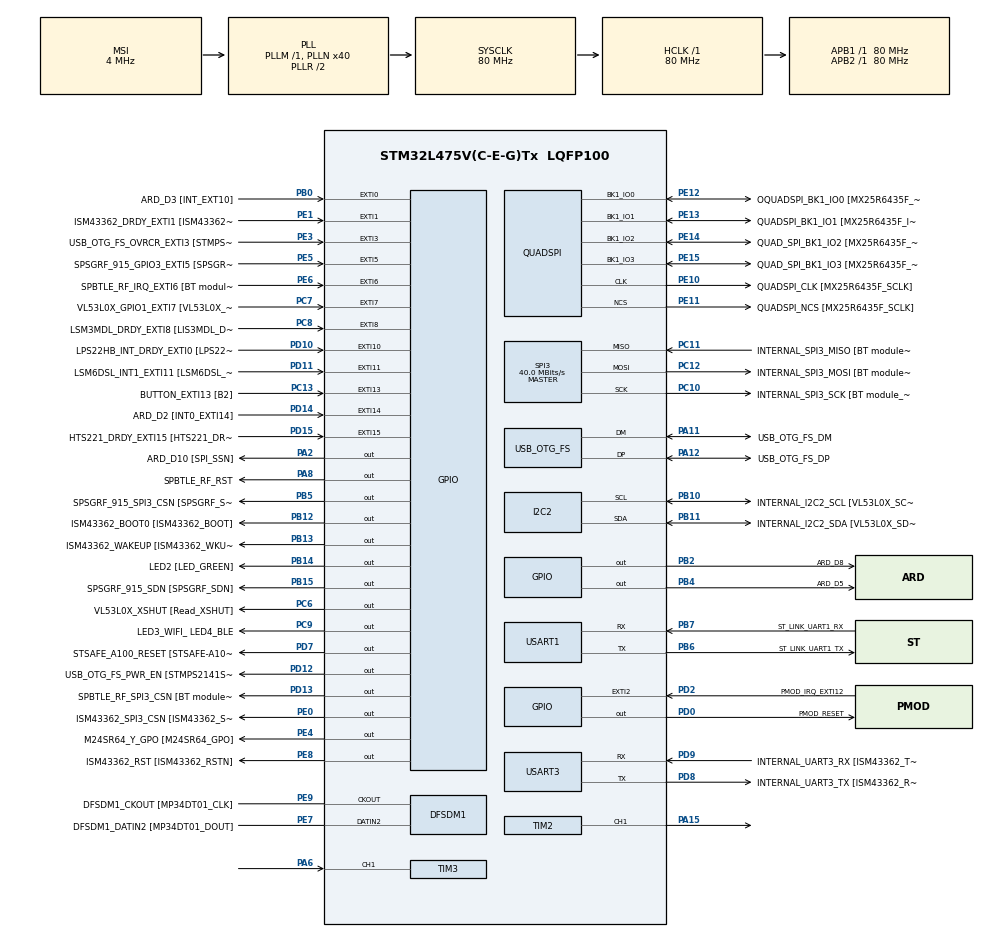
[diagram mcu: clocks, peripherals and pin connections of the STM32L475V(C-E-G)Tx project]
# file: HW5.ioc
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I2C2.Timing=0x10D19CE4
Mcu.Family=STM32L4
Mcu.Name=STM32L475V(C-E-G)Tx
Mcu.Package=LQFP100
NVIC.EXTI15_10_IRQn=true\:0\:0\:false\:false\:true\:true\:true\:true
NVIC.EXTI9_5_IRQn=true\:0\:0\:false\:false\:true\:true\:true\:true
NVIC.TIM3_IRQn=true\:1\:0\:false\:false\:true\:true\:true\:true
NVIC.PriorityGroup=NVIC_PRIORITYGROUP_4
PA0.GPIO_Label=ARD_D1 [UART4_TX]
PA0.Signal=UART4_TX
PA1.GPIO_Label=ARD_D0 [UART4_RX]
PA1.Signal=UART4_RX
PA10.GPIO_Label=USB_OTG_FS_ID
PA10.Signal=USB_OTG_FS_ID
PA11.GPIO_Label=USB_OTG_FS_DM
PA11.Mode=Device_Only
PA11.Signal=USB_OTG_FS_DM
PA12.GPIO_Label=USB_OTG_FS_DP
PA12.Mode=Device_Only
PA12.Signal=USB_OTG_FS_DP
PA13\ (JTMS-SWDIO).GPIO_Label=SYS_JTMS_SWDIO
PA13\ (JTMS-SWDIO).Mode=Serial_Wire
PA13\ (JTMS-SWDIO).Signal=SYS_JTMS-SWDIO
PA14\ (JTCK-SWCLK).GPIO_Label=SYS_JTCK_SWCLK
PA14\ (JTCK-SWCLK).Mode=Serial_Wire
PA14\ (JTCK-SWCLK).Signal=SYS_JTCK-SWCLK
PA15\ (JTDI).Signal=S_TIM2_CH1
PA2.GPIO_Label=ARD_D10 [SPI_SSN]
PA2.Signal=GPIO_Output
PA3.GPIO_Label=ARD_D4
PA3.Signal=S_TIM2_CH4
PA4.GPIO_Label=ARD_D7
PA4.Signal=ADCx_IN9
PA5.GPIO_Label=ARD_D13 [SPI1_SCK]
PA5.Signal=SPI1_SCK
PA6.Signal=S_TIM3_CH1
PA7.Signal=S_TIM3_CH2
PA8.GPIO_Label=SPBTLE_RF_RST
PA8.Signal=GPIO_Output
PA9.GPIO_Label=USB_OTG_FS_VBUS [STMPS2141STR_OUT]
PA9.Signal=USB_OTG_FS_VBUS
PB0.GPIO_Label=ARD_D3 [INT_EXT10]
PB0.Signal=GPXTI0
PB1.GPIO_Label=ARD_D6 [ADC1_IN6]
PB1.Signal=ADCx_IN16
PB10.GPIO_Label=INTERNAL_I2C2_SCL [VL53L0X_SCL]
PB10.GPIO_Pu=GPIO_PULLUP
PB10.Mode=I2C
PB10.Signal=I2C2_SCL
PB11.GPIO_Label=INTERNAL_I2C2_SDA [VL53L0X_SDA]
PB11.GPIO_Pu=GPIO_PULLUP
PB11.Mode=I2C
PB11.Signal=I2C2_SDA
PB12.GPIO_Label=ISM43362_BOOT0 [ISM43362_BOOT]
PB12.Signal=GPIO_Output
PB13.GPIO_Label=ISM43362_WAKEUP [ISM43362_WKUP]
PB13.Signal=GPIO_Output
PB14.GPIO_Label=LED2 [LED_GREEN]
PB14.Signal=GPIO_Output
PB15.GPIO_Label=SPSGRF_915_SDN [SPSGRF_SDN]
PB15.Signal=GPIO_Output
PB2.GPIO_Label=ARD_D8
PB2.Signal=GPIO_Output
PB3\ (JTDO-TRACESWO).GPIO_Label=SYS_JTD0_SWO
PB3\ (JTDO-TRACESWO).Signal=SYS_JTDO-SWO
PB4\ (NJTRST).GPIO_Label=ARD_D5
PB4\ (NJTRST).Signal=GPIO_Output
PB5.GPIO_Label=SPSGRF_915_SPI3_CSN [SPSGRF_SPI_CS]
PB5.PinState=GPIO_PIN_SET
PB5.Signal=GPIO_Output
PB6.GPIO_Label=ST_LINK_UART1_TX
PB6.Mode=Asynchronous
PB6.Signal=USART1_TX
PB7.GPIO_Label=ST_LINK_UART1_RX
PB7.Mode=Asynchronous
PB7.Signal=USART1_RX
PB8.GPIO_Label=ARD_D15 [I2C1_SCL]
PB8.Signal=I2C1_SCL
PB9.GPIO_Label=ARD_D14 [I2C1_SDA]
PB9.Signal=I2C1_SDA
PC0.GPIO_Label=ARD_A5 [ADC]
PC0.Signal=ADCx_IN1
PC1.GPIO_Label=ARD_A4 [ADC]
PC1.Signal=ADCx_IN2
PC10.GPIO_Label=INTERNAL_SPI3_SCK [BT module_SPI_SCLK] [ISM43362_SCK]
PC10.Mode=Full_Duplex_Master
PC10.Signal=SPI3_SCK
PC11.GPIO_Label=INTERNAL_SPI3_MISO [BT module_SPI_MISO] [ISM43362_MISO]
PC11.Mode=Full_Duplex_Master
PC11.Signal=SPI3_MISO
PC12.GPIO_Label=INTERNAL_SPI3_MOSI [BT module_SPI_MOSI] [ISM43362_MOSI]
PC12.Mode=Full_Duplex_Master
PC12.Signal=SPI3_MOSI
PC13.GPIO_Label=BUTTON_EXTI13 [B2]
PC13.GPIO_ModeDefaultEXTI=GPIO_MODE_IT_FALLING
PC13.Signal=GPXTI13
PC14-OSC32_IN\ (PC14).Mode=LSE-External-Oscillator
PC14-OSC32_IN\ (PC14).Signal=RCC_OSC32_IN
PC15-OSC32_OUT\ (PC15).Mode=LSE-External-Oscillator
PC15-OSC32_OUT\ (PC15).Signal=RCC_OSC32_OUT
PC2.GPIO_Label=ARD_A3 [ADC]
PC2.Signal=ADCx_IN3
PC3.GPIO_Label=ARD_A2 [ADC]
PC3.Signal=ADCx_IN4
PC4.GPIO_Label=ARD_A1 [ADC]
PC4.Signal=ADCx_IN13
PC5.GPIO_Label=ARD_A0 [ADC]
PC5.Signal=ADCx_IN14
PC6.GPIO_Label=VL53L0X_XSHUT [Read_XSHUT]
PC6.Signal=GPIO_Output
PC7.GPIO_Label=VL53L0X_GPIO1_EXTI7 [VL53L0X_GPIO1]
PC7.Signal=GPXTI7
PC8.GPIO_Label=LSM3MDL_DRDY_EXTI8 [LIS3MDL_DRDY]
PC8.Signal=GPXTI8
PC9.GPIO_Label=LED3_WIFI_ LED4_BLE
PC9.Signal=GPIO_Output
PD0.GPIO_Label=PMOD_RESET
PD0.Signal=GPIO_Output
PD1.GPIO_Label=PMOD_SPI2_SCK
PD1.Signal=SPI2_SCK
PD10.GPIO_Label=LPS22HB_INT_DRDY_EXTI0 [LPS22HB_INT_DRDY] 
PD10.Signal=GPXTI10
PD11.GPIO_Label=LSM6DSL_INT1_EXTI11 [LSM6DSL_INT1]
PD11.Signal=GPXTI11
PD12.GPIO_Label=USB_OTG_FS_PWR_EN [STMPS2141STR_EN]
PD12.Signal=GPIO_Output
PD13.GPIO_Label=SPBTLE_RF_SPI3_CSN [BT module_SPI_CS]
PD13.PinState=GPIO_PIN_SET
PD13.Signal=GPIO_Output
PD14.GPIO_Label=ARD_D2 [INT0_EXTI14]
PD14.Signal=GPXTI14
PD15.GPIO_Label=HTS221_DRDY_EXTI15 [HTS221_DRDY]
PD15.Signal=GPXTI15
PD2.GPIO_Label=PMOD_IRQ_EXTI12
PD2.Signal=GPXTI2
PD3.GPIO_Label=PMOD_UART2_CTS
PD3.Signal=USART2_CTS
PD4.GPIO_Label=PMOD_UART2_RTS
PD4.Signal=USART2_RTS
PD5.GPIO_Label=PMOD_UART2_TX
PD5.Signal=USART2_TX
PD6.GPIO_Label=PMOD_UART2_RX
PD6.Signal=USART2_RX
PD7.GPIO_Label=STSAFE_A100_RESET [STSAFE-A100_RESET]
PD7.Signal=GPIO_Output
PD8.GPIO_Label=INTERNAL_UART3_TX [ISM43362_RX]
PD8.Mode=Asynchronous
PD8.Signal=USART3_TX
PD9.GPIO_Label=INTERNAL_UART3_RX [ISM43362_TX]
PD9.Mode=Asynchronous
PD9.Signal=USART3_RX
PE0.GPIO_Label=ISM43362_SPI3_CSN [ISM43362_SSN]
PE0.PinState=GPIO_PIN_SET
PE0.Signal=GPIO_Output
PE1.GPIO_Label=ISM43362_DRDY_EXTI1 [ISM43362_DATARDY]
PE1.Signal=GPXTI1
PE10.GPIO_Label=QUADSPI_CLK [MX25R6435F_SCLK]
PE10.Mode=Single Bank
PE10.Signal=QUADSPI_CLK
PE11.GPIO_Label=QUADSPI_NCS [MX25R6435F_SCLK]
PE11.Mode=Single Bank
PE11.Signal=QUADSPI_NCS
PE12.GPIO_Label=OQUADSPI_BK1_IO0 [MX25R6435F_IO0]
PE12.Mode=Single Bank
PE12.Signal=QUADSPI_BK1_IO0
PE13.GPIO_Label=QUADSPI_BK1_IO1 [MX25R6435F_IO1]
PE13.Mode=Single Bank
PE13.Signal=QUADSPI_BK1_IO1
PE14.GPIO_Label=QUAD_SPI_BK1_IO2 [MX25R6435F_IO2]
PE14.Mode=Single Bank
PE14.Signal=QUADSPI_BK1_IO2
PE15.GPIO_Label=QUAD_SPI_BK1_IO3 [MX25R6435F_IO3]
PE15.Mode=Single Bank
PE15.Signal=QUADSPI_BK1_IO3
PE3.GPIO_Label=USB_OTG_FS_OVRCR_EXTI3 [STMPS2141STR_FAULT]
PE3.Signal=GPXTI3
PE4.GPIO_Label=M24SR64_Y_GPO [M24SR64_GPO]
PE4.Signal=GPIO_Output
PE5.GPIO_Label=SPSGRF_915_GPIO3_EXTI5 [SPSGRF_GPIO_3]
PE5.Signal=GPXTI5
PE6.GPIO_Label=SPBTLE_RF_IRQ_EXTI6 [BT module_SPI_IRQ]
PE6.Signal=GPXTI6
PE7.GPIO_Label=DFSDM1_DATIN2 [MP34DT01_DOUT]
PE7.Signal=S_DATAIN2DFSDM1
PE8.GPIO_Label=ISM43362_RST [ISM43362_RSTN]
PE8.Signal=GPIO_Output
PE9.GPIO_Label=DFSDM1_CKOUT [MP34DT01_CLK]
PE9.Signal=S_CKOUTDFSDM1
ProjectManager.HeapSize=0x200
ProjectManager.StackSize=0x400
ProjectManager.TargetToolchain=CMake
QUADSPI.ClockPrescaler=2
QUADSPI.FifoThreshold=4
QUADSPI.FlashSize=23
QUADSPI.SampleShifting=QSPI_SAMPLE_SHIFTING_HALFCYCLE
RCC.ADCFreq_Value=48000000
RCC.AHBFreq_Value=80000000
RCC.APB1Freq_Value=80000000
RCC.APB1TimFreq_Value=80000000
RCC.APB2Freq_Value=80000000
RCC.APB2TimFreq_Value=80000000
RCC.CortexFreq_Value=80000000
RCC.HCLKFreq_Value=80000000
RCC.HSE_VALUE=8000000
RCC.HSI_VALUE=16000000
RCC.MSI_VALUE=4000000
RCC.PLLN=40
RCC.PLLSAI1N=24
RCC.SYSCLKFreq_VALUE=80000000
RCC.SYSCLKSource=RCC_SYSCLKSOURCE_PLLCLK
RCC.USBFreq_Value=48000000
RCC.VCOOutputFreq_Value=160000000
SH.ADCx_IN1.0=ADC1_IN1
SH.ADCx_IN13.0=ADC1_IN13
SH.ADCx_IN14.0=ADC1_IN14
SH.ADCx_IN16.0=ADC1_IN16
SH.ADCx_IN2.0=ADC1_IN2
SH.ADCx_IN3.0=ADC1_IN3
SH.ADCx_IN4.0=ADC1_IN4
SH.ADCx_IN9.0=ADC1_IN9
SH.S_CKOUTDFSDM1.0=DFSDM1_CKOUT,CKOUT
SH.S_CKOUTDFSDM1.1=DFSDM1_CKOUT,PDM_SPI_Input_from_ch12_and_Internal_Clock
SH.S_DATAIN2DFSDM1.0=DFSDM1_DATIN2,PDM_SPI_Input_from_ch12_and_Internal_Clock
SH.S_TIM2_CH1.0=TIM2_CH1,PWM Generation1 CH1
SH.S_TIM2_CH4.0=TIM2_CH4
SH.S_TIM3_CH1.0=TIM3_CH1,Input_Capture1_from_TI1
SH.S_TIM3_CH1.1=TIM3_CH1,TriggerSource_TI1FP1
SH.S_TIM3_CH2.0=TIM3_CH2
SPI3.CalculateBaudRate=40.0 MBits/s
SPI3.Direction=SPI_DIRECTION_2LINES
SPI3.Mode=SPI_MODE_MASTER
SPI3.VirtualType=VM_MASTER
TIM2.AutoReloadPreload=TIM_AUTORELOAD_PRELOAD_ENABLE
TIM2.Channel-PWM\ Generation1\ CH1=TIM_CHANNEL_1
TIM2.Period=999999
TIM2.Prescaler=15
TIM2.Pulse-PWM\ Generation1\ CH1=250000
TIM3.Channel-Input_Capture1_from_TI1=TIM_CHANNEL_1
TIM3.Channel-Input_Capture2_from_TI1_63=TIM_CHANNEL_2
TIM3.ICPolarity_CH1=TIM_INPUTCHANNELPOLARITY_RISING
TIM3.ICPolarity_CH2=TIM_INPUTCHANNELPOLARITY_FALLING
TIM3.TriggerPolarity=TIM_INPUTCHANNELPOLARITY_RISING
TIM3.Prescaler=7999
USART1.VirtualMode-Asynchronous=VM_ASYNC
USART3.VirtualMode-Asynchronous=VM_ASYNC
USB_OTG_FS.VirtualMode=Device_Only
VP_TIM2_VS_ClockSourceINT.Mode=Internal
VP_TIM3_VS_ControllerModeReset.Mode=Reset Mode
VP_TIM3_VS_indirect_ch1.Mode=Input_Capture2_from_TI1_63
board=B-L475E-IOT01A2

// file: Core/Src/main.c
/* USER CODE BEGIN Header */
/**
  ******************************************************************************
  * @file           : main.c
  * @brief          : Main program body
  ******************************************************************************
  * @attention
  *
  * Copyright (c) 2026 STMicroelectronics.
  * All rights reserved.
  *
  * This software is licensed under terms that can be found in the LICENSE file
  * in the root directory of this software component.
  * If no LICENSE file comes with this software, it is provided AS-IS.
  *
  ******************************************************************************
  */
/* USER CODE END Header */
#include "main.h"

DFSDM_Channel_HandleTypeDef hdfsdm1_channel1;

I2C_HandleTypeDef hi2c2;

QSPI_HandleTypeDef hqspi;

SPI_HandleTypeDef hspi3;

TIM_HandleTypeDef htim2;
TIM_HandleTypeDef htim3;

UART_HandleTypeDef huart1;
UART_HandleTypeDef huart3;

PCD_HandleTypeDef hpcd_USB_OTG_FS;

/* USER CODE BEGIN PV */
volatile uint32_t IC_Val1 = 0;     // 儲存週期 (CCR1)
volatile uint32_t IC_Val2 = 0;     // 儲存高電平寬度 (CCR2)
volatile float frequency = 0.0f;
volatile float duty_cycle = 0.0f;  // 計算出的占空比 (%)
/* USER CODE END PV */

void SystemClock_Config(void);
static void MX_GPIO_Init(void);
static void MX_DFSDM1_Init(void);
static void MX_I2C2_Init(void);
static void MX_QUADSPI_Init(void);
static void MX_SPI3_Init(void);
static void MX_TIM2_Init(void);
static void MX_USART1_UART_Init(void);
static void MX_USART3_UART_Init(void);
static void MX_USB_OTG_FS_PCD_Init(void);
static void MX_TIM3_Init(void);

int main(void)
{

  /* MCU Configuration--------------------------------------------------------*/

  /* Reset of all peripherals, Initializes the Flash interface and the Systick. */
  HAL_Init();

  /* Configure the system clock */
  SystemClock_Config();

  /* Initialize all configured peripherals */
  MX_GPIO_Init();
  MX_DFSDM1_Init();
  MX_I2C2_Init();
  MX_QUADSPI_Init();
  MX_SPI3_Init();
  MX_TIM2_Init();
  MX_USART1_UART_Init();
  MX_USART3_UART_Init();
  MX_USB_OTG_FS_PCD_Init();
  MX_TIM3_Init();
  /* USER CODE BEGIN 2 */
  HAL_TIM_IC_Start(&htim3, TIM_CHANNEL_2);
  HAL_TIM_IC_Start_IT(&htim3, TIM_CHANNEL_1);
  HAL_TIM_PWM_Start(&htim2, TIM_CHANNEL_1);
  /* USER CODE END 2 */

  /* Infinite loop */
  while (1)
  {
    (void)frequency;
    (void)duty_cycle;
  }
}

void SystemClock_Config(void)
{
  RCC_OscInitTypeDef RCC_OscInitStruct = {0};
  RCC_ClkInitTypeDef RCC_ClkInitStruct = {0};

  /** Configure the main internal regulator output voltage
  */
  if (HAL_PWREx_ControlVoltageScaling(PWR_REGULATOR_VOLTAGE_SCALE1) != HAL_OK)
  {
    Error_Handler();
  }

  /** Configure LSE Drive Capability
  */
  HAL_PWR_EnableBkUpAccess();
  __HAL_RCC_LSEDRIVE_CONFIG(RCC_LSEDRIVE_LOW);

  /** Initializes the RCC Oscillators according to the specified parameters
  * in the RCC_OscInitTypeDef structure.
  */
  RCC_OscInitStruct.OscillatorType = RCC_OSCILLATORTYPE_LSE|RCC_OSCILLATORTYPE_MSI;
  RCC_OscInitStruct.LSEState = RCC_LSE_ON;
  RCC_OscInitStruct.MSIState = RCC_MSI_ON;
  RCC_OscInitStruct.MSICalibrationValue = 0;
  RCC_OscInitStruct.MSIClockRange = RCC_MSIRANGE_6;
  RCC_OscInitStruct.PLL.PLLState = RCC_PLL_ON;
  RCC_OscInitStruct.PLL.PLLSource = RCC_PLLSOURCE_MSI;
  RCC_OscInitStruct.PLL.PLLM = 1;
  RCC_OscInitStruct.PLL.PLLN = 40;
  RCC_OscInitStruct.PLL.PLLP = RCC_PLLP_DIV7;
  RCC_OscInitStruct.PLL.PLLQ = RCC_PLLQ_DIV2;
  RCC_OscInitStruct.PLL.PLLR = RCC_PLLR_DIV2;
  if (HAL_RCC_OscConfig(&RCC_OscInitStruct) != HAL_OK)
  {
    Error_Handler();
  }

  /** Initializes the CPU, AHB and APB buses clocks
  */
  RCC_ClkInitStruct.ClockType = RCC_CLOCKTYPE_HCLK|RCC_CLOCKTYPE_SYSCLK
                              |RCC_CLOCKTYPE_PCLK1|RCC_CLOCKTYPE_PCLK2;
  RCC_ClkInitStruct.SYSCLKSource = RCC_SYSCLKSOURCE_PLLCLK;
  RCC_ClkInitStruct.AHBCLKDivider = RCC_SYSCLK_DIV1;
  RCC_ClkInitStruct.APB1CLKDivider = RCC_HCLK_DIV1;
  RCC_ClkInitStruct.APB2CLKDivider = RCC_HCLK_DIV1;

  if (HAL_RCC_ClockConfig(&RCC_ClkInitStruct, FLASH_LATENCY_4) != HAL_OK)
  {
    Error_Handler();
  }

  /** Enable MSI Auto calibration
  */
  HAL_RCCEx_EnableMSIPLLMode();
}

static void MX_DFSDM1_Init(void)
{

  hdfsdm1_channel1.Instance = DFSDM1_Channel1;
  hdfsdm1_channel1.Init.OutputClock.Activation = ENABLE;
  hdfsdm1_channel1.Init.OutputClock.Selection = DFSDM_CHANNEL_OUTPUT_CLOCK_SYSTEM;
  hdfsdm1_channel1.Init.OutputClock.Divider = 2;
  hdfsdm1_channel1.Init.Input.Multiplexer = DFSDM_CHANNEL_EXTERNAL_INPUTS;
  hdfsdm1_channel1.Init.Input.DataPacking = DFSDM_CHANNEL_STANDARD_MODE;
  hdfsdm1_channel1.Init.Input.Pins = DFSDM_CHANNEL_FOLLOWING_CHANNEL_PINS;
  hdfsdm1_channel1.Init.SerialInterface.Type = DFSDM_CHANNEL_SPI_RISING;
  hdfsdm1_channel1.Init.SerialInterface.SpiClock = DFSDM_CHANNEL_SPI_CLOCK_INTERNAL;
  hdfsdm1_channel1.Init.Awd.FilterOrder = DFSDM_CHANNEL_FASTSINC_ORDER;
  hdfsdm1_channel1.Init.Awd.Oversampling = 1;
  hdfsdm1_channel1.Init.Offset = 0;
  hdfsdm1_channel1.Init.RightBitShift = 0x00;
  if (HAL_DFSDM_ChannelInit(&hdfsdm1_channel1) != HAL_OK)
  {
    Error_Handler();
  }

}

static void MX_I2C2_Init(void)
{

  hi2c2.Instance = I2C2;
  hi2c2.Init.Timing = 0x10D19CE4;
  hi2c2.Init.OwnAddress1 = 0;
  hi2c2.Init.AddressingMode = I2C_ADDRESSINGMODE_7BIT;
  hi2c2.Init.DualAddressMode = I2C_DUALADDRESS_DISABLE;
  hi2c2.Init.OwnAddress2 = 0;
  hi2c2.Init.OwnAddress2Masks = I2C_OA2_NOMASK;
  hi2c2.Init.GeneralCallMode = I2C_GENERALCALL_DISABLE;
  hi2c2.Init.NoStretchMode = I2C_NOSTRETCH_DISABLE;
  if (HAL_I2C_Init(&hi2c2) != HAL_OK)
  {
    Error_Handler();
  }

  /** Configure Analogue filter
  */
  if (HAL_I2CEx_ConfigAnalogFilter(&hi2c2, I2C_ANALOGFILTER_ENABLE) != HAL_OK)
  {
    Error_Handler();
  }

  /** Configure Digital filter
  */
  if (HAL_I2CEx_ConfigDigitalFilter(&hi2c2, 0) != HAL_OK)
  {
    Error_Handler();
  }

}

static void MX_QUADSPI_Init(void)
{

  /* QUADSPI parameter configuration*/
  hqspi.Instance = QUADSPI;
  hqspi.Init.ClockPrescaler = 2;
  hqspi.Init.FifoThreshold = 4;
  hqspi.Init.SampleShifting = QSPI_SAMPLE_SHIFTING_HALFCYCLE;
  hqspi.Init.FlashSize = 23;
  hqspi.Init.ChipSelectHighTime = QSPI_CS_HIGH_TIME_1_CYCLE;
  hqspi.Init.ClockMode = QSPI_CLOCK_MODE_0;
  if (HAL_QSPI_Init(&hqspi) != HAL_OK)
  {
    Error_Handler();
  }

}

static void MX_SPI3_Init(void)
{

  /* SPI3 parameter configuration*/
  hspi3.Instance = SPI3;
  hspi3.Init.Mode = SPI_MODE_MASTER;
  hspi3.Init.Direction = SPI_DIRECTION_2LINES;
  hspi3.Init.DataSize = SPI_DATASIZE_4BIT;
  hspi3.Init.CLKPolarity = SPI_POLARITY_LOW;
  hspi3.Init.CLKPhase = SPI_PHASE_1EDGE;
  hspi3.Init.NSS = SPI_NSS_SOFT;
  hspi3.Init.BaudRatePrescaler = SPI_BAUDRATEPRESCALER_2;
  hspi3.Init.FirstBit = SPI_FIRSTBIT_MSB;
  hspi3.Init.TIMode = SPI_TIMODE_DISABLE;
  hspi3.Init.CRCCalculation = SPI_CRCCALCULATION_DISABLE;
  hspi3.Init.CRCPolynomial = 7;
  hspi3.Init.CRCLength = SPI_CRC_LENGTH_DATASIZE;
  hspi3.Init.NSSPMode = SPI_NSS_PULSE_ENABLE;
  if (HAL_SPI_Init(&hspi3) != HAL_OK)
  {
    Error_Handler();
  }

}

static void MX_TIM2_Init(void)
{

  TIM_ClockConfigTypeDef sClockSourceConfig = {0};
  TIM_MasterConfigTypeDef sMasterConfig = {0};
  TIM_OC_InitTypeDef sConfigOC = {0};

  htim2.Instance = TIM2;
  htim2.Init.Prescaler = 15;
  htim2.Init.CounterMode = TIM_COUNTERMODE_UP;
  htim2.Init.Period = 999999;
  htim2.Init.ClockDivision = TIM_CLOCKDIVISION_DIV1;
  htim2.Init.AutoReloadPreload = TIM_AUTORELOAD_PRELOAD_ENABLE;
  if (HAL_TIM_Base_Init(&htim2) != HAL_OK)
  {
    Error_Handler();
  }
  sClockSourceConfig.ClockSource = TIM_CLOCKSOURCE_INTERNAL;
  if (HAL_TIM_ConfigClockSource(&htim2, &sClockSourceConfig) != HAL_OK)
  {
    Error_Handler();
  }
  if (HAL_TIM_PWM_Init(&htim2) != HAL_OK)
  {
    Error_Handler();
  }
  sMasterConfig.MasterOutputTrigger = TIM_TRGO_RESET;
  sMasterConfig.MasterSlaveMode = TIM_MASTERSLAVEMODE_DISABLE;
  if (HAL_TIMEx_MasterConfigSynchronization(&htim2, &sMasterConfig) != HAL_OK)
  {
    Error_Handler();
  }
  sConfigOC.OCMode = TIM_OCMODE_PWM1;
  sConfigOC.Pulse = 250000;
  sConfigOC.OCPolarity = TIM_OCPOLARITY_HIGH;
  sConfigOC.OCFastMode = TIM_OCFAST_DISABLE;
  if (HAL_TIM_PWM_ConfigChannel(&htim2, &sConfigOC, TIM_CHANNEL_1) != HAL_OK)
  {
    Error_Handler();
  }
  HAL_TIM_MspPostInit(&htim2);

}

static void MX_TIM3_Init(void)
{

  TIM_SlaveConfigTypeDef sSlaveConfig = {0};
  TIM_MasterConfigTypeDef sMasterConfig = {0};
  TIM_IC_InitTypeDef sConfigIC = {0};

  htim3.Instance = TIM3;
  htim3.Init.Prescaler = 7999;
  htim3.Init.CounterMode = TIM_COUNTERMODE_UP;
  htim3.Init.Period = 65535;
  htim3.Init.ClockDivision = TIM_CLOCKDIVISION_DIV1;
  htim3.Init.AutoReloadPreload = TIM_AUTORELOAD_PRELOAD_DISABLE;
  if (HAL_TIM_Base_Init(&htim3) != HAL_OK)
  {
    Error_Handler();
  }
  if (HAL_TIM_IC_Init(&htim3) != HAL_OK)
  {
    Error_Handler();
  }
  sSlaveConfig.SlaveMode = TIM_SLAVEMODE_RESET;
  sSlaveConfig.InputTrigger = TIM_TS_TI1FP1;
  sSlaveConfig.TriggerPolarity = TIM_INPUTCHANNELPOLARITY_RISING;
  sSlaveConfig.TriggerFilter = 0;
  if (HAL_TIM_SlaveConfigSynchro(&htim3, &sSlaveConfig) != HAL_OK)
  {
    Error_Handler();
  }
  sMasterConfig.MasterOutputTrigger = TIM_TRGO_RESET;
  sMasterConfig.MasterSlaveMode = TIM_MASTERSLAVEMODE_DISABLE;
  if (HAL_TIMEx_MasterConfigSynchronization(&htim3, &sMasterConfig) != HAL_OK)
  {
    Error_Handler();
  }
  sConfigIC.ICPolarity = TIM_INPUTCHANNELPOLARITY_RISING;
  sConfigIC.ICSelection = TIM_ICSELECTION_DIRECTTI;
  sConfigIC.ICPrescaler = TIM_ICPSC_DIV1;
  sConfigIC.ICFilter = 0;
  if (HAL_TIM_IC_ConfigChannel(&htim3, &sConfigIC, TIM_CHANNEL_1) != HAL_OK)
  {
    Error_Handler();
  }
  sConfigIC.ICPolarity = TIM_INPUTCHANNELPOLARITY_FALLING;
  sConfigIC.ICSelection = TIM_ICSELECTION_INDIRECTTI;
  if (HAL_TIM_IC_ConfigChannel(&htim3, &sConfigIC, TIM_CHANNEL_2) != HAL_OK)
  {
    Error_Handler();
  }

}

static void MX_USART1_UART_Init(void)
{

  huart1.Instance = USART1;
  huart1.Init.BaudRate = 115200;
  huart1.Init.WordLength = UART_WORDLENGTH_8B;
  huart1.Init.StopBits = UART_STOPBITS_1;
  huart1.Init.Parity = UART_PARITY_NONE;
  huart1.Init.Mode = UART_MODE_TX_RX;
  huart1.Init.HwFlowCtl = UART_HWCONTROL_NONE;
  huart1.Init.OverSampling = UART_OVERSAMPLING_16;
  huart1.Init.OneBitSampling = UART_ONE_BIT_SAMPLE_DISABLE;
  huart1.AdvancedInit.AdvFeatureInit = UART_ADVFEATURE_NO_INIT;
  if (HAL_UART_Init(&huart1) != HAL_OK)
  {
    Error_Handler();
  }

}

static void MX_USART3_UART_Init(void)
{

  huart3.Instance = USART3;
  huart3.Init.BaudRate = 115200;
  huart3.Init.WordLength = UART_WORDLENGTH_8B;
  huart3.Init.StopBits = UART_STOPBITS_1;
  huart3.Init.Parity = UART_PARITY_NONE;
  huart3.Init.Mode = UART_MODE_TX_RX;
  huart3.Init.HwFlowCtl = UART_HWCONTROL_NONE;
  huart3.Init.OverSampling = UART_OVERSAMPLING_16;
  huart3.Init.OneBitSampling = UART_ONE_BIT_SAMPLE_DISABLE;
  huart3.AdvancedInit.AdvFeatureInit = UART_ADVFEATURE_NO_INIT;
  if (HAL_UART_Init(&huart3) != HAL_OK)
  {
    Error_Handler();
  }

}

static void MX_USB_OTG_FS_PCD_Init(void)
{

  hpcd_USB_OTG_FS.Instance = USB_OTG_FS;
  hpcd_USB_OTG_FS.Init.dev_endpoints = 6;
  hpcd_USB_OTG_FS.Init.speed = PCD_SPEED_FULL;
  hpcd_USB_OTG_FS.Init.phy_itface = PCD_PHY_EMBEDDED;
  hpcd_USB_OTG_FS.Init.Sof_enable = DISABLE;
  hpcd_USB_OTG_FS.Init.low_power_enable = DISABLE;
  hpcd_USB_OTG_FS.Init.lpm_enable = DISABLE;
  hpcd_USB_OTG_FS.Init.battery_charging_enable = DISABLE;
  hpcd_USB_OTG_FS.Init.use_dedicated_ep1 = DISABLE;
  hpcd_USB_OTG_FS.Init.vbus_sensing_enable = DISABLE;
  if (HAL_PCD_Init(&hpcd_USB_OTG_FS) != HAL_OK)
  {
    Error_Handler();
  }

}

static void MX_GPIO_Init(void)
{
  GPIO_InitTypeDef GPIO_InitStruct = {0};

  /* GPIO Ports Clock Enable */
  __HAL_RCC_GPIOE_CLK_ENABLE();
  __HAL_RCC_GPIOC_CLK_ENABLE();
  __HAL_RCC_GPIOA_CLK_ENABLE();
  __HAL_RCC_GPIOB_CLK_ENABLE();
  __HAL_RCC_GPIOD_CLK_ENABLE();

  /*Configure GPIO pin Output Level */
  HAL_GPIO_WritePin(GPIOE, M24SR64_Y_GPO_Pin|ISM43362_RST_Pin, GPIO_PIN_RESET);

  /*Configure GPIO pin Output Level */
  HAL_GPIO_WritePin(GPIOA, ARD_D10_Pin|SPBTLE_RF_RST_Pin, GPIO_PIN_RESET);

  /*Configure GPIO pin Output Level */
  HAL_GPIO_WritePin(GPIOB, ARD_D8_Pin|ISM43362_BOOT0_Pin|ISM43362_WAKEUP_Pin|LED2_Pin
                          |SPSGRF_915_SDN_Pin|ARD_D5_Pin, GPIO_PIN_RESET);

  /*Configure GPIO pin Output Level */
  HAL_GPIO_WritePin(GPIOD, USB_OTG_FS_PWR_EN_Pin|PMOD_RESET_Pin|STSAFE_A100_RESET_Pin, GPIO_PIN_RESET);

  /*Configure GPIO pin Output Level */
  HAL_GPIO_WritePin(SPBTLE_RF_SPI3_CSN_GPIO_Port, SPBTLE_RF_SPI3_CSN_Pin, GPIO_PIN_SET);

  /*Configure GPIO pin Output Level */
  HAL_GPIO_WritePin(GPIOC, VL53L0X_XSHUT_Pin|LED3_WIFI__LED4_BLE_Pin, GPIO_PIN_RESET);

  /*Configure GPIO pin Output Level */
  HAL_GPIO_WritePin(SPSGRF_915_SPI3_CSN_GPIO_Port, SPSGRF_915_SPI3_CSN_Pin, GPIO_PIN_SET);

  /*Configure GPIO pin Output Level */
  HAL_GPIO_WritePin(ISM43362_SPI3_CSN_GPIO_Port, ISM43362_SPI3_CSN_Pin, GPIO_PIN_SET);

  /*Configure GPIO pins : USB_OTG_FS_OVRCR_EXTI3_Pin SPSGRF_915_GPIO3_EXTI5_Pin SPBTLE_RF_IRQ_EXTI6_Pin ISM43362_DRDY_EXTI1_Pin */
  GPIO_InitStruct.Pin = USB_OTG_FS_OVRCR_EXTI3_Pin|SPSGRF_915_GPIO3_EXTI5_Pin|SPBTLE_RF_IRQ_EXTI6_Pin|ISM43362_DRDY_EXTI1_Pin;
  GPIO_InitStruct.Mode = GPIO_MODE_IT_RISING;
  GPIO_InitStruct.Pull = GPIO_NOPULL;
  HAL_GPIO_Init(GPIOE, &GPIO_InitStruct);

  /*Configure GPIO pins : M24SR64_Y_GPO_Pin ISM43362_RST_Pin ISM43362_SPI3_CSN_Pin */
  GPIO_InitStruct.Pin = M24SR64_Y_GPO_Pin|ISM43362_RST_Pin|ISM43362_SPI3_CSN_Pin;
  GPIO_InitStruct.Mode = GPIO_MODE_OUTPUT_PP;
  GPIO_InitStruct.Pull = GPIO_NOPULL;
  GPIO_InitStruct.Speed = GPIO_SPEED_FREQ_LOW;
  HAL_GPIO_Init(GPIOE, &GPIO_InitStruct);

  /*Configure GPIO pin : BUTTON_EXTI13_Pin */
  GPIO_InitStruct.Pin = BUTTON_EXTI13_Pin;
  GPIO_InitStruct.Mode = GPIO_MODE_IT_FALLING;
  GPIO_InitStruct.Pull = GPIO_NOPULL;
  HAL_GPIO_Init(BUTTON_EXTI13_GPIO_Port, &GPIO_InitStruct);

  /*Configure GPIO pins : ARD_A5_Pin ARD_A4_Pin ARD_A3_Pin ARD_A2_Pin
                           ARD_A1_Pin ARD_A0_Pin */
  GPIO_InitStruct.Pin = ARD_A5_Pin|ARD_A4_Pin|ARD_A3_Pin|ARD_A2_Pin
                          |ARD_A1_Pin|ARD_A0_Pin;
  GPIO_InitStruct.Mode = GPIO_MODE_ANALOG_ADC_CONTROL;
  GPIO_InitStruct.Pull = GPIO_NOPULL;
  HAL_GPIO_Init(GPIOC, &GPIO_InitStruct);

  /*Configure GPIO pins : ARD_D1_Pin ARD_D0_Pin */
  GPIO_InitStruct.Pin = ARD_D1_Pin|ARD_D0_Pin;
  GPIO_InitStruct.Mode = GPIO_MODE_AF_PP;
  GPIO_InitStruct.Pull = GPIO_NOPULL;
  GPIO_InitStruct.Speed = GPIO_SPEED_FREQ_VERY_HIGH;
  GPIO_InitStruct.Alternate = GPIO_AF8_UART4;
  HAL_GPIO_Init(GPIOA, &GPIO_InitStruct);

  /*Configure GPIO pins : ARD_D10_Pin SPBTLE_RF_RST_Pin */
  GPIO_InitStruct.Pin = ARD_D10_Pin|SPBTLE_RF_RST_Pin;
  GPIO_InitStruct.Mode = GPIO_MODE_OUTPUT_PP;
  GPIO_InitStruct.Pull = GPIO_NOPULL;
  GPIO_InitStruct.Speed = GPIO_SPEED_FREQ_LOW;
  HAL_GPIO_Init(GPIOA, &GPIO_InitStruct);

  /*Configure GPIO pin : ARD_D7_Pin */
  GPIO_InitStruct.Pin = ARD_D7_Pin;
  GPIO_InitStruct.Mode = GPIO_MODE_ANALOG_ADC_CONTROL;
  GPIO_InitStruct.Pull = GPIO_NOPULL;
  HAL_GPIO_Init(ARD_D7_GPIO_Port, &GPIO_InitStruct);

  /*Configure GPIO pin : ARD_D13_Pin */
  GPIO_InitStruct.Pin = ARD_D13_Pin;
  GPIO_InitStruct.Mode = GPIO_MODE_AF_PP;
  GPIO_InitStruct.Pull = GPIO_NOPULL;
  GPIO_InitStruct.Speed = GPIO_SPEED_FREQ_VERY_HIGH;
  GPIO_InitStruct.Alternate = GPIO_AF5_SPI1;
  HAL_GPIO_Init(ARD_D13_GPIO_Port, &GPIO_InitStruct);

  /*Configure GPIO pin : ARD_D3_Pin */
  GPIO_InitStruct.Pin = ARD_D3_Pin;
  GPIO_InitStruct.Mode = GPIO_MODE_IT_RISING;
  GPIO_InitStruct.Pull = GPIO_NOPULL;
  HAL_GPIO_Init(ARD_D3_GPIO_Port, &GPIO_InitStruct);

  /*Configure GPIO pin : ARD_D6_Pin */
  GPIO_InitStruct.Pin = ARD_D6_Pin;
  GPIO_InitStruct.Mode = GPIO_MODE_ANALOG_ADC_CONTROL;
  GPIO_InitStruct.Pull = GPIO_NOPULL;
  HAL_GPIO_Init(ARD_D6_GPIO_Port, &GPIO_InitStruct);

  /*Configure GPIO pins : ARD_D8_Pin ISM43362_BOOT0_Pin ISM43362_WAKEUP_Pin LED2_Pin
                           SPSGRF_915_SDN_Pin ARD_D5_Pin SPSGRF_915_SPI3_CSN_Pin */
  GPIO_InitStruct.Pin = ARD_D8_Pin|ISM43362_BOOT0_Pin|ISM43362_WAKEUP_Pin|LED2_Pin
                          |SPSGRF_915_SDN_Pin|ARD_D5_Pin|SPSGRF_915_SPI3_CSN_Pin;
  GPIO_InitStruct.Mode = GPIO_MODE_OUTPUT_PP;
  GPIO_InitStruct.Pull = GPIO_NOPULL;
  GPIO_InitStruct.Speed = GPIO_SPEED_FREQ_LOW;
  HAL_GPIO_Init(GPIOB, &GPIO_InitStruct);

  /*Configure GPIO pins : LPS22HB_INT_DRDY_EXTI0_Pin LSM6DSL_INT1_EXTI11_Pin ARD_D2_Pin HTS221_DRDY_EXTI15_Pin
                           PMOD_IRQ_EXTI12_Pin */
  GPIO_InitStruct.Pin = LPS22HB_INT_DRDY_EXTI0_Pin|LSM6DSL_INT1_EXTI11_Pin|ARD_D2_Pin|HTS221_DRDY_EXTI15_Pin
                          |PMOD_IRQ_EXTI12_Pin;
  GPIO_InitStruct.Mode = GPIO_MODE_IT_RISING;
  GPIO_InitStruct.Pull = GPIO_NOPULL;
  HAL_GPIO_Init(GPIOD, &GPIO_InitStruct);

  /*Configure GPIO pins : USB_OTG_FS_PWR_EN_Pin SPBTLE_RF_SPI3_CSN_Pin PMOD_RESET_Pin STSAFE_A100_RESET_Pin */
  GPIO_InitStruct.Pin = USB_OTG_FS_PWR_EN_Pin|SPBTLE_RF_SPI3_CSN_Pin|PMOD_RESET_Pin|STSAFE_A100_RESET_Pin;
  GPIO_InitStruct.Mode = GPIO_MODE_OUTPUT_PP;
  GPIO_InitStruct.Pull = GPIO_NOPULL;
  GPIO_InitStruct.Speed = GPIO_SPEED_FREQ_LOW;
  HAL_GPIO_Init(GPIOD, &GPIO_InitStruct);

  /*Configure GPIO pins : VL53L0X_XSHUT_Pin LED3_WIFI__LED4_BLE_Pin */
  GPIO_InitStruct.Pin = VL53L0X_XSHUT_Pin|LED3_WIFI__LED4_BLE_Pin;
  GPIO_InitStruct.Mode = GPIO_MODE_OUTPUT_PP;
  GPIO_InitStruct.Pull = GPIO_NOPULL;
  GPIO_InitStruct.Speed = GPIO_SPEED_FREQ_LOW;
  HAL_GPIO_Init(GPIOC, &GPIO_InitStruct);

  /*Configure GPIO pins : VL53L0X_GPIO1_EXTI7_Pin LSM3MDL_DRDY_EXTI8_Pin */
  GPIO_InitStruct.Pin = VL53L0X_GPIO1_EXTI7_Pin|LSM3MDL_DRDY_EXTI8_Pin;
  GPIO_InitStruct.Mode = GPIO_MODE_IT_RISING;
  GPIO_InitStruct.Pull = GPIO_NOPULL;
  HAL_GPIO_Init(GPIOC, &GPIO_InitStruct);

  /*Configure GPIO pin : PMOD_SPI2_SCK_Pin */
  GPIO_InitStruct.Pin = PMOD_SPI2_SCK_Pin;
  GPIO_InitStruct.Mode = GPIO_MODE_AF_PP;
  GPIO_InitStruct.Pull = GPIO_NOPULL;
  GPIO_InitStruct.Speed = GPIO_SPEED_FREQ_VERY_HIGH;
  GPIO_InitStruct.Alternate = GPIO_AF5_SPI2;
  HAL_GPIO_Init(PMOD_SPI2_SCK_GPIO_Port, &GPIO_InitStruct);

  /*Configure GPIO pins : PMOD_UART2_CTS_Pin PMOD_UART2_RTS_Pin PMOD_UART2_TX_Pin PMOD_UART2_RX_Pin */
  GPIO_InitStruct.Pin = PMOD_UART2_CTS_Pin|PMOD_UART2_RTS_Pin|PMOD_UART2_TX_Pin|PMOD_UART2_RX_Pin;
  GPIO_InitStruct.Mode = GPIO_MODE_AF_PP;
  GPIO_InitStruct.Pull = GPIO_NOPULL;
  GPIO_InitStruct.Speed = GPIO_SPEED_FREQ_VERY_HIGH;
  GPIO_InitStruct.Alternate = GPIO_AF7_USART2;
  HAL_GPIO_Init(GPIOD, &GPIO_InitStruct);

  /*Configure GPIO pins : ARD_D15_Pin ARD_D14_Pin */
  GPIO_InitStruct.Pin = ARD_D15_Pin|ARD_D14_Pin;
  GPIO_InitStruct.Mode = GPIO_MODE_AF_OD;
  GPIO_InitStruct.Pull = GPIO_NOPULL;
  GPIO_InitStruct.Speed = GPIO_SPEED_FREQ_VERY_HIGH;
  GPIO_InitStruct.Alternate = GPIO_AF4_I2C1;
  HAL_GPIO_Init(GPIOB, &GPIO_InitStruct);

  /* EXTI interrupt init*/
  HAL_NVIC_SetPriority(EXTI9_5_IRQn, 0, 0);
  HAL_NVIC_EnableIRQ(EXTI9_5_IRQn);

  HAL_NVIC_SetPriority(EXTI15_10_IRQn, 0, 0);
  HAL_NVIC_EnableIRQ(EXTI15_10_IRQn);

}

/* USER CODE BEGIN 4 */
void HAL_TIM_IC_CaptureCallback(TIM_HandleTypeDef *htim)
{
    static uint8_t capture_primed = 0;
    if (htim->Instance == TIM3)
    {
        if (htim->Channel == HAL_TIM_ACTIVE_CHANNEL_1)
        {
            // 讀取 Channel 1 (完整週期 Period)
            IC_Val1 = HAL_TIM_ReadCapturedValue(htim, TIM_CHANNEL_1);

            // The first rising edge only establishes the period boundary.
            if (!capture_primed)
            {
                capture_primed = 1;
                return;
            }
            if (IC_Val1 != 0)
            {
                // 讀取 Channel 2 (高電平寬度 Pulse)
                IC_Val2 = HAL_TIM_ReadCapturedValue(htim, TIM_CHANNEL_2);

                // 計算占空比 (%)
                duty_cycle = ((float)IC_Val2 / (float)IC_Val1) * 100.0f;

                // TIM3: 80 MHz / (7999 + 1) = 10 kHz.
                frequency = 10000.0f / (float)IC_Val1;
            }
        }
    }
}
/* USER CODE END 4 */

void Error_Handler(void)
{
  __disable_irq();
  while (1)
  {
  }
}
